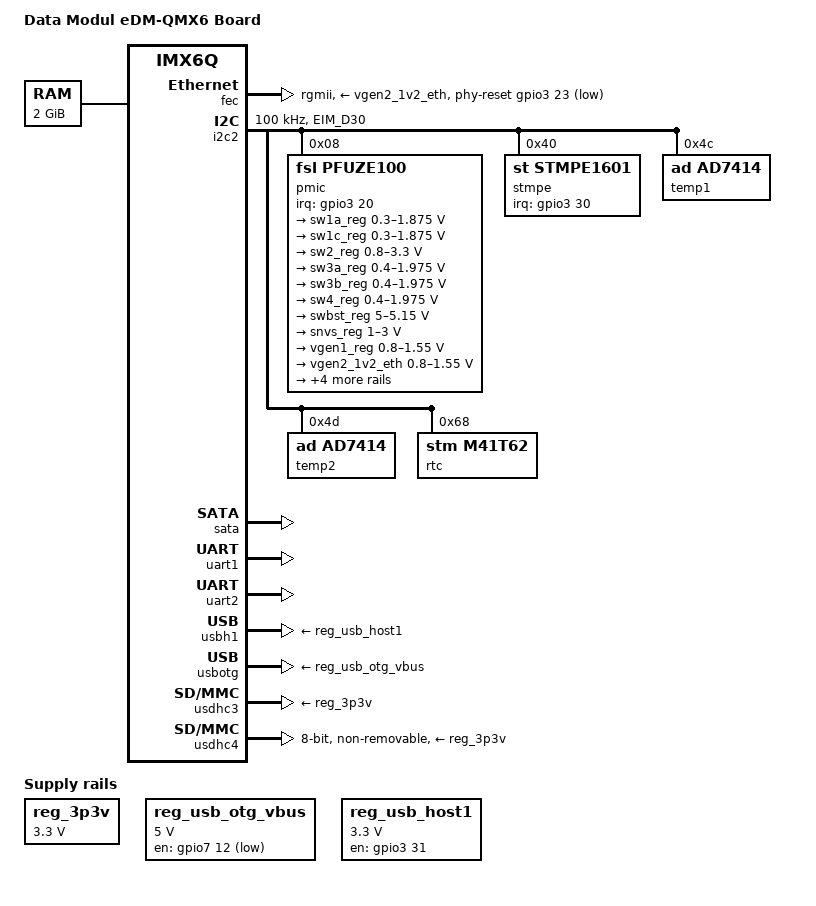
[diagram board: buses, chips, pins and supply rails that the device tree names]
/*
 * Copyright 2013 Data Modul AG
 *
 * The code contained herein is licensed under the GNU General Public
 * License. You may obtain a copy of the GNU General Public License
 * Version 2 or later at the following locations:
 *
 * http://www.opensource.org/licenses/gpl-license.html
 * http://www.gnu.org/copyleft/gpl.html
 */

/dts-v1/;

#include "imx6q.dtsi"

/ {
	model = "Data Modul eDM-QMX6 Board";
	compatible = "dmo,imx6q-edmqmx6", "fsl,imx6q";

	aliases {
		gpio7 = &stmpe_gpio;
	};

	memory {
		reg = <0x10000000 0x80000000>;
	};

	regulators {
		compatible = "simple-bus";
		#address-cells = <1>;
		#size-cells = <0>;

		reg_3p3v: regulator@0 {
			compatible = "regulator-fixed";
			reg = <0>;
			regulator-name = "3P3V";
			regulator-min-microvolt = <3300000>;
			regulator-max-microvolt = <3300000>;
			regulator-always-on;
		};

		reg_usb_otg_vbus: regulator@1 {
			compatible = "regulator-fixed";
			reg = <1>;
			regulator-name = "usb_otg_vbus";
			regulator-min-microvolt = <5000000>;
			regulator-max-microvolt = <5000000>;
			gpio = <&gpio7 12 0>;
		};

		reg_usb_host1: regulator@2 {
			compatible = "regulator-fixed";
			reg = <2>;
			regulator-name = "usb_host1_en";
			regulator-min-microvolt = <3300000>;
			regulator-max-microvolt = <3300000>;
			gpio = <&gpio3 31 0>;
			enable-active-high;
		};
	};
};

&fec {
	pinctrl-names = "default";
	pinctrl-0 = <&pinctrl_enet>;
	phy-mode = "rgmii";
	phy-reset-gpios = <&gpio3 23 0>;
	phy-supply = <&vgen2_1v2_eth>;
	status = "okay";
};

&i2c2 {
	clock-frequency = <100000>;
	pinctrl-names = "default";
	pinctrl-0 = <&pinctrl_i2c2
		     &pinctrl_stmpe>;
	status = "okay";

	pmic: pfuze100@08 {
		compatible = "fsl,pfuze100";
		reg = <0x08>;
		interrupt-parent = <&gpio3>;
		interrupts = <20 8>;

		regulators {
			sw1a_reg: sw1ab {
				regulator-min-microvolt = <300000>;
				regulator-max-microvolt = <1875000>;
				regulator-boot-on;
				regulator-always-on;
			};

			sw1c_reg: sw1c {
				regulator-min-microvolt = <300000>;
				regulator-max-microvolt = <1875000>;
				regulator-boot-on;
				regulator-always-on;
			};

			sw2_reg: sw2 {
				regulator-min-microvolt = <800000>;
				regulator-max-microvolt = <3300000>;
				regulator-boot-on;
				regulator-always-on;
			};

			sw3a_reg: sw3a {
				regulator-min-microvolt = <400000>;
				regulator-max-microvolt = <1975000>;
				regulator-boot-on;
				regulator-always-on;
			};

			sw3b_reg: sw3b {
				regulator-min-microvolt = <400000>;
				regulator-max-microvolt = <1975000>;
				regulator-boot-on;
				regulator-always-on;
			};

			sw4_reg: sw4 {
				regulator-min-microvolt = <400000>;
				regulator-max-microvolt = <1975000>;
				regulator-always-on;
			};

			swbst_reg: swbst {
				regulator-min-microvolt = <5000000>;
				regulator-max-microvolt = <5150000>;
				regulator-always-on;
			};

			snvs_reg: vsnvs {
				regulator-min-microvolt = <1000000>;
				regulator-max-microvolt = <3000000>;
				regulator-boot-on;
				regulator-always-on;
			};

			vref_reg: vrefddr {
				regulator-boot-on;
				regulator-always-on;
			};

			vgen1_reg: vgen1 {
				regulator-min-microvolt = <800000>;
				regulator-max-microvolt = <1550000>;
			};

			vgen2_1v2_eth: vgen2 {
				regulator-min-microvolt = <800000>;
				regulator-max-microvolt = <1550000>;
			};

			vdd_high_in: vgen3 {
				regulator-min-microvolt = <1800000>;
				regulator-max-microvolt = <3300000>;
				regulator-boot-on;
				regulator-always-on;
			};

			vgen4_reg: vgen4 {
				regulator-min-microvolt = <1800000>;
				regulator-max-microvolt = <3300000>;
				regulator-always-on;
			};

			vgen5_reg: vgen5 {
				regulator-min-microvolt = <1800000>;
				regulator-max-microvolt = <3300000>;
				regulator-always-on;
			};

			vgen6_reg: vgen6 {
				regulator-min-microvolt = <1800000>;
				regulator-max-microvolt = <3300000>;
				regulator-always-on;
			};
		};
	};

	stmpe: stmpe1601@40 {
		compatible = "st,stmpe1601";
		reg = <0x40>;
		interrupts = <30 0>;
		interrupt-parent = <&gpio3>;

		stmpe_gpio: stmpe_gpio {
			compatible = "st,stmpe-gpio";
		};
	};

	temp1: ad7414@4c {
		compatible = "ad,ad7414";
		reg = <0x4c>;
	};

	temp2: ad7414@4d {
		compatible = "ad,ad7414";
		reg = <0x4d>;
	};

	rtc: m41t62@68 {
		compatible = "stm,m41t62";
		reg = <0x68>;
	};
};

&iomuxc {
	pinctrl-names = "default";
	pinctrl-0 = <&pinctrl_hog>;

	imx6q-dmo-edmqmx6 {
		pinctrl_hog: hoggrp {
			fsl,pins = <
				MX6QDL_PAD_EIM_A16__GPIO2_IO22 0x80000000
				MX6QDL_PAD_EIM_A17__GPIO2_IO21 0x80000000
			>;
		};

		pinctrl_enet: enetgrp {
			fsl,pins = <MX6QDL_ENET_PINGRP1>;
		};

		pinctrl_i2c2: i2c2grp {
			fsl,pins = <MX6QDL_I2C2_PINGRP3>;
		};

		pinctrl_stmpe: stmpegrp {
			fsl,pins = <MX6QDL_PAD_EIM_D30__GPIO3_IO30 0x80000000>;
		};

		pinctrl_uart1: uart1grp {
			fsl,pins = <MX6QDL_UART1_PINGRP2>;
		};

		pinctrl_uart2: uart2grp {
			fsl,pins = <MX6QDL_UART2_PINGRP1>;
		};

		pinctrl_usbotg: usbotggrp {
			fsl,pins = <MX6QDL_USBOTG_PINGRP1>;
		};

		pinctrl_usdhc3: usdhc3grp {
			fsl,pins = <MX6QDL_USDHC3_PINGRP_D4>;
		};

		pinctrl_usdhc4: usdhc4grp {
			fsl,pins = <MX6QDL_USDHC4_PINGRP_D8>;
		};
	};
};

&sata {
	status = "okay";
};

&uart1 {
	pinctrl-names = "default";
	pinctrl-0 = <&pinctrl_uart1>;
	status = "okay";
};

&uart2 {
	pinctrl-names = "default";
	pinctrl-0 = <&pinctrl_uart2>;
	status = "okay";
};

&usbh1 {
	vbus-supply = <&reg_usb_host1>;
	disable-over-current;
	status = "okay";
};

&usbotg {
	vbus-supply = <&reg_usb_otg_vbus>;
	pinctrl-names = "default";
	pinctrl-0 = <&pinctrl_usbotg>;
	disable-over-current;
	status = "okay";
};

&usdhc3 {
	pinctrl-names = "default";
	pinctrl-0 = <&pinctrl_usdhc3>;
	vmmc-supply = <&reg_3p3v>;
	status = "okay";
};

&usdhc4 {
	pinctrl-names = "default";
	pinctrl-0 = <&pinctrl_usdhc4>;
	vmmc-supply = <&reg_3p3v>;
	non-removable;
	bus-width = <8>;
	status = "okay";
};
